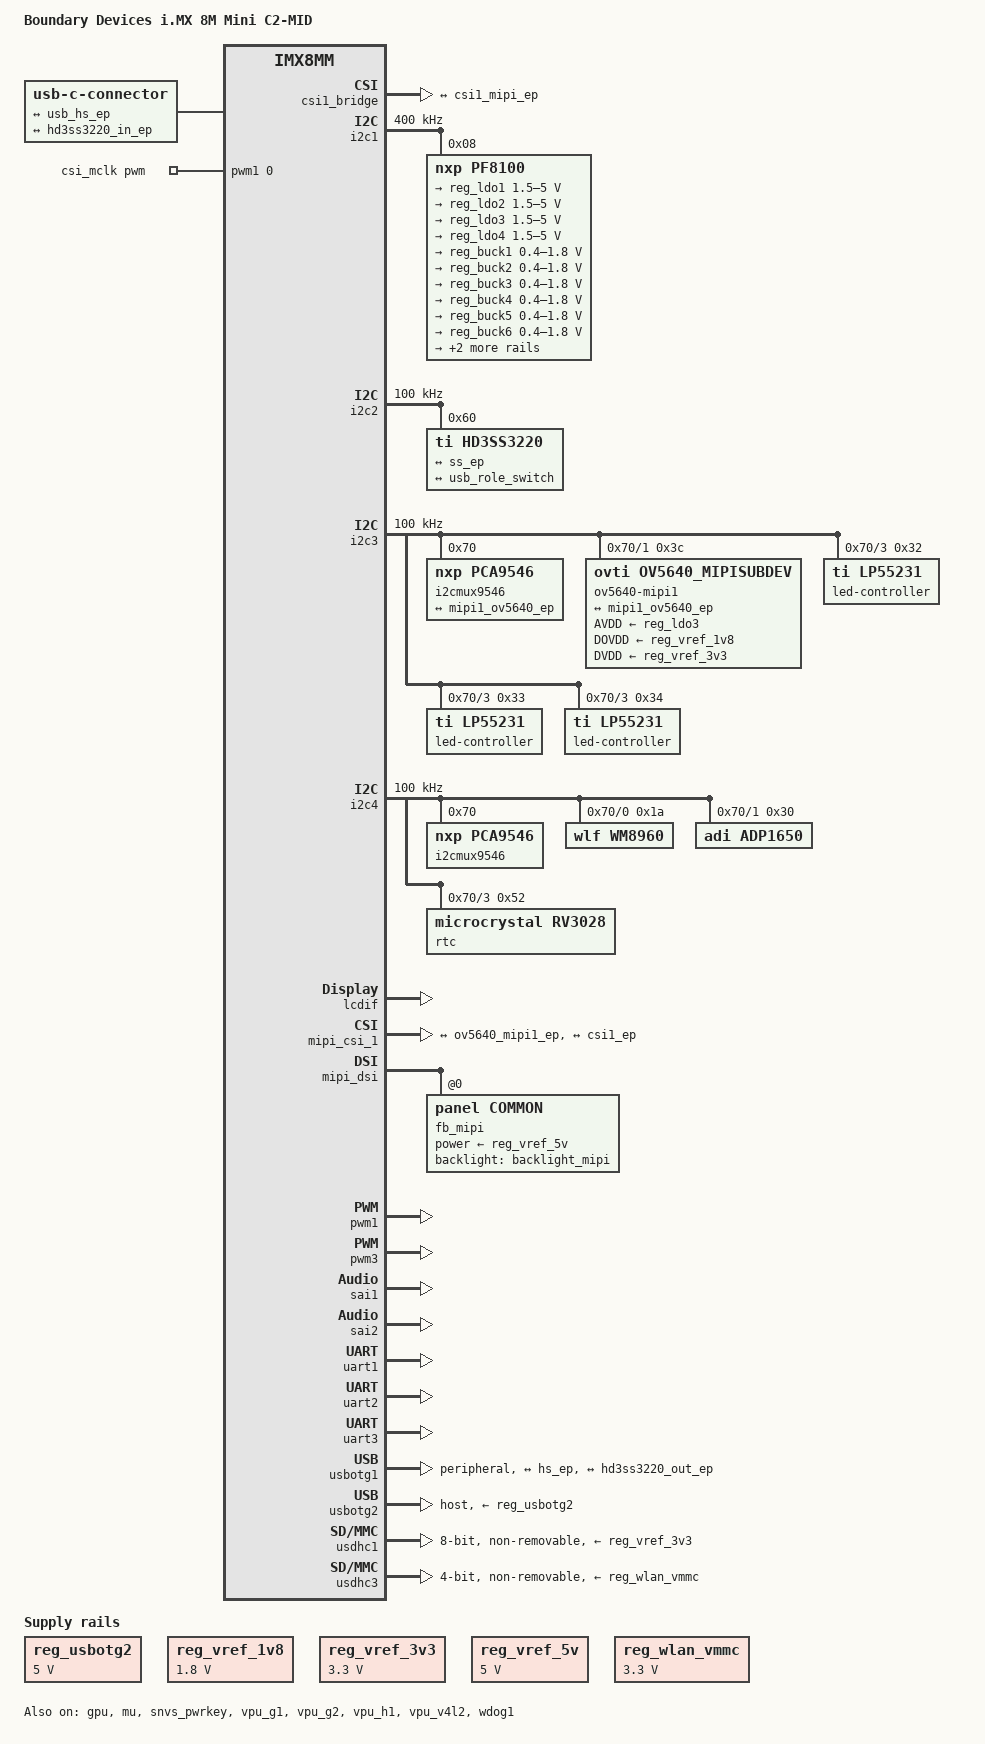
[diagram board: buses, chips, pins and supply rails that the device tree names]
// SPDX-License-Identifier: (GPL-2.0+ OR MIT)
/*
 * Copyright 2021 Boundary Devices
 */

/dts-v1/;
#include "imx8mm.dtsi"
#include "panel-ltk080a60a004t.dtsi"
#include "panel-m101nwwb.dtsi"
#define MX8MMN(a, b)	MX8MM_##a b
#define IMX8MMN(a)	IMX8MM_##a

&iomuxc {
	pinctrl-names = "default";
	pinctrl-0 = <&pinctrl_hog>;

	pinctrl_bt_rfkill: bt-rfkillgrp {
		fsl,pins = <
#define GP_BT_RFKILL_RESET	<&gpio3 14 GPIO_ACTIVE_LOW>
			MX8MMN(IOMUXC_NAND_DQS_GPIO3_IO14, 0x119)
		>;
	};

	pinctrl_hog: hoggrp {
		fsl,pins = <
			MX8MMN(IOMUXC_UART3_RXD_GPIO5_IO26, 0x140)	/* NFC_GPO */
			MX8MMN(IOMUXC_UART3_TXD_GPIO5_IO27, 0x140)	/* NFC_RESET */
			MX8MMN(IOMUXC_GPIO1_IO03_GPIO1_IO3, 0x140)	/* 2P8V_FCI_EN */
			MX8MMN(IOMUXC_GPIO1_IO05_GPIO1_IO5, 0x1c0)	/* TAMPER_FIRQ */
			MX8MMN(IOMUXC_GPIO1_IO07_GPIO1_IO7, 0x140)	/* Fasboot button */
			/* unused, but called ldo2_vsel */
			MX8MMN(IOMUXC_NAND_CE1_B_GPIO3_IO2, 0x100)
			MX8MMN(IOMUXC_GPIO1_IO12_GPIO1_IO12, 0x100)
			MX8MMN(IOMUXC_GPIO1_IO13_GPIO1_IO13, 0x140)

			MX8MMN(IOMUXC_NAND_RE_B_GPIO3_IO15, 0x140)	/* TP12 */
			MX8MMN(IOMUXC_NAND_ALE_GPIO3_IO0, 0x140)	/* TP18 */
			MX8MMN(IOMUXC_SAI3_RXC_GPIO4_IO29, 0x140)	/* TP19 */
			MX8MMN(IOMUXC_GPIO1_IO15_GPIO1_IO15, 0x140)	/* TP20 */
			MX8MMN(IOMUXC_GPIO1_IO09_GPIO1_IO9, 0x140)	/* TP21 */
			MX8MMN(IOMUXC_SAI1_RXD3_GPIO4_IO5, 0x140)	/* TP26 */
		>;
	};

	pinctrl_i2c1: i2c1grp {
		fsl,pins = <
			MX8MMN(IOMUXC_I2C1_SCL_I2C1_SCL, 0x400000c3)
			MX8MMN(IOMUXC_I2C1_SDA_I2C1_SDA, 0x400000c3)
		>;
	};

	pinctrl_i2c1_1: i2c1_1grp {
		fsl,pins = <
#define GP_I2C1_SCL	<&gpio5 14 GPIO_OPEN_DRAIN>
			MX8MMN(IOMUXC_I2C1_SCL_GPIO5_IO14, 0x400000c3)
#define GP_I2C1_SDA	<&gpio5 15 GPIO_OPEN_DRAIN>
			MX8MMN(IOMUXC_I2C1_SDA_GPIO5_IO15, 0x400000c3)
		>;
	};

	pinctrl_i2c1_pf8100: i2c1-pf8100grp {
		fsl,pins = <
#define GP_I2C1_PF8100_EWARN	<&gpio3 3 GPIO_ACTIVE_LOW>
			MX8MMN(IOMUXC_NAND_CE2_B_GPIO3_IO3, 0x149)
#define GP_I2C1_PF8100_FAULT	<&gpio3 4 GPIO_ACTIVE_LOW>
			MX8MMN(IOMUXC_NAND_CE3_B_GPIO3_IO4, 0x149)
		>;
	};

	pinctrl_i2c2: i2c2grp {
		fsl,pins = <
			MX8MMN(IOMUXC_I2C2_SCL_I2C2_SCL, 0x400000c3)
			MX8MMN(IOMUXC_I2C2_SDA_I2C2_SDA, 0x400000c3)
		>;
	};

	pinctrl_i2c2_1: i2c2_1grp {
		fsl,pins = <
#define GP_I2C2_SCL	<&gpio5 16 GPIO_OPEN_DRAIN>
			MX8MMN(IOMUXC_I2C2_SCL_GPIO5_IO16, 0x400000c3)
#define GP_I2C2_SDA	<&gpio5 17 GPIO_OPEN_DRAIN>
			MX8MMN(IOMUXC_I2C2_SDA_GPIO5_IO17, 0x400000c3)
		>;
	};

	pinctrl_i2c2_hd3ss3220: i2c2-hd3ss3220grp {
		fsl,pins = <
#define GPIRQ_HD3SS3220	<&gpio3 25 IRQ_TYPE_LEVEL_LOW>
			MX8MMN(IOMUXC_SAI5_MCLK_GPIO3_IO25, 0x149)
			MX8MMN(IOMUXC_SAI5_RXFS_GPIO3_IO19, 0x109)
		>;
	};

	pinctrl_i2c3: i2c3grp {
		fsl,pins = <
			MX8MMN(IOMUXC_I2C3_SCL_I2C3_SCL, 0x400000c3)
			MX8MMN(IOMUXC_I2C3_SDA_I2C3_SDA, 0x400000c3)
		>;
	};

	pinctrl_i2c3_1: i2c3_1grp {
		fsl,pins = <
#define GP_I2C3_SCL	<&gpio5 18 GPIO_OPEN_DRAIN>
			MX8MMN(IOMUXC_I2C3_SCL_GPIO5_IO18, 0x400000c3)
#define GP_I2C3_SDA	<&gpio5 19 GPIO_OPEN_DRAIN>
			MX8MMN(IOMUXC_I2C3_SDA_GPIO5_IO19, 0x400000c3)
		>;
	};

	pinctrl_i2c3_pca9546: i2c3-pca9546grp {
		fsl,pins = <
#define GP_I2C3_PCA9546_RESET	<&gpio4 4 GPIO_ACTIVE_LOW>
			MX8MMN(IOMUXC_SAI1_RXD2_GPIO4_IO4, 0x100)
		>;
	};

	pinctrl_i2c3b_ov5640_mipi: i2c3b-ov5640-mipigrp {
		fsl,pins = <
#define GP_OV5640_MIPI_POWER_DOWN	<&gpio1 11 GPIO_ACTIVE_HIGH>
			MX8MMN(IOMUXC_GPIO1_IO11_GPIO1_IO11, 0x141)
#define GP_OV5640_MIPI_RESET		<&gpio1 10 GPIO_ACTIVE_LOW>
			MX8MMN(IOMUXC_GPIO1_IO10_GPIO1_IO10, 0x101)
			MX8MMN(IOMUXC_SAI2_MCLK_GPIO4_IO27, 0x1c0)	/* xclk */
		>;
	};

	/* i2c3c */
	pinctrl_sn65dsi83: sn65dsi83grp {
		fsl,pins = <
#define GPIRQ_SN65DSI83	<&gpio3 20 IRQ_TYPE_LEVEL_HIGH>
			MX8MMN(IOMUXC_SAI5_RXC_GPIO3_IO20, 0x04)	/* J8, pin8, J8_GPIO1 */
#define GP_SN65DSI83_EN	<&gpio5 28 GPIO_ACTIVE_HIGH>
			MX8MMN(IOMUXC_UART4_RXD_GPIO5_IO28, 0x100)	/* J8, pin 11, J8_GPIO2 */
		>;
	};

	/* i2c3c */
	pinctrl_ts_gt911: ts-gt911grp {
		fsl,pins = <
#define GPIRQ_GT911 		<&gpio4 1 IRQ_TYPE_LEVEL_HIGH>
#define GP_GT911_IRQ 		<&gpio4 1 GPIO_ACTIVE_HIGH>
			MX8MMN(IOMUXC_SAI1_RXC_GPIO4_IO1, 0x1d6)
			/* driver writes levels, instead of active/inactive */
#define GP_GT911_RESET		<&gpio4 0 GPIO_ACTIVE_HIGH>
			MX8MMN(IOMUXC_SAI1_RXFS_GPIO4_IO0, 0x149)
		>;
	};

	/* i2c3c */
	pinctrl_ts_ft5x06: ts-ft5x06grp {
		fsl,pins = <
#define GPIRQ_TS_FT5X06	<&gpio4 1 IRQ_TYPE_EDGE_FALLING>
#define GP_TS_FT5X06_WAKE	<&gpio4 1 GPIO_ACTIVE_LOW>
			MX8MMN(IOMUXC_SAI1_RXC_GPIO4_IO1, 0x149)
#define GP_TS_FT5X06_RESET	<&gpio4 0 GPIO_ACTIVE_LOW>
			MX8MMN(IOMUXC_SAI1_RXFS_GPIO4_IO0, 0x109)
		>;
	};

	pinctrl_i2c3d_lp55231a: i2c3d-lp55231agrp {
		fsl,pins = <
#define GP_LED1_EN	<&gpio5 2 GPIO_ACTIVE_HIGH>
			MX8MMN(IOMUXC_SAI3_MCLK_GPIO5_IO2, 0x140)
#define GPIRQ_LED1	<&gpio4 31 IRQ_TYPE_LEVEL_LOW>
			MX8MMN(IOMUXC_SAI3_TXFS_GPIO4_IO31, 0x140)
		>;
	};

	pinctrl_i2c3d_lp55231b: i2c3d-lp55231bgrp {
		fsl,pins = <
#define GP_LED2_EN	<&gpio3 22 GPIO_ACTIVE_HIGH>
			MX8MMN(IOMUXC_SAI5_RXD1_GPIO3_IO22, 0x140)
#define GPIRQ_LED2	<&gpio3 21 IRQ_TYPE_LEVEL_LOW>
			MX8MMN(IOMUXC_SAI5_RXD0_GPIO3_IO21, 0x140)
		>;
	};

	pinctrl_i2c3d_lp55231c: i2c3d-lp55231cgrp {
		fsl,pins = <
#define GP_LED3_EN	<&gpio5 0 GPIO_ACTIVE_HIGH>
			MX8MMN(IOMUXC_SAI3_TXC_GPIO5_IO0, 0x140)
#define GPIRQ_LED3	<&gpio5 1 IRQ_TYPE_LEVEL_LOW>
			MX8MMN(IOMUXC_SAI3_TXD_GPIO5_IO1, 0x140)
		>;
	};

	pinctrl_i2c4: i2c4grp {
		fsl,pins = <
			MX8MMN(IOMUXC_I2C4_SCL_I2C4_SCL, 0x400000c3)
			MX8MMN(IOMUXC_I2C4_SDA_I2C4_SDA, 0x400000c3)
		>;
	};

	pinctrl_i2c4_1: i2c4_1grp {
		fsl,pins = <
#define GP_I2C4_SCL	<&gpio5 20 GPIO_OPEN_DRAIN>
			MX8MMN(IOMUXC_I2C4_SCL_GPIO5_IO20, 0x400000c3)
#define GP_I2C4_SDA	<&gpio5 21 GPIO_OPEN_DRAIN>
			MX8MMN(IOMUXC_I2C4_SDA_GPIO5_IO21, 0x400000c3)
		>;
	};

	pinctrl_i2c4_pca9546: i2c4-pca9546grp {
		fsl,pins = <
#define GP_I2C4_PCA9546_RESET	<&gpio4 7 GPIO_ACTIVE_LOW>
			MX8MMN(IOMUXC_SAI1_RXD5_GPIO4_IO7, 0x100)
		>;
	};

	pinctrl_i2c4b_adp1650: i2c4b-adp1650grp {
		fsl,pins = <
#define GP_FLASH_EN		<&gpio4 13 GPIO_ACTIVE_HIGH>
			MX8MMN(IOMUXC_SAI1_TXD1_GPIO4_IO13, 0x109)	/* FLASH_ENABLE */
#define GP_FLASH_STROBE		<&gpio4 3 GPIO_ACTIVE_HIGH>
			MX8MMN(IOMUXC_SAI1_RXD1_GPIO4_IO3, 0x109)	/* FLASH_STROBE */
#define GP_TORCH_EN		<&gpio4 14 GPIO_ACTIVE_HIGH>
			MX8MMN(IOMUXC_SAI1_TXD2_GPIO4_IO14, 0x109)	/* FLASH_TORCH_MODE */
		>;
	};

	pinctrl_i2c4d_rv3028: i2c4d-rv3028grp {
		fsl,pins = <
#define GPIRQ_RV3028		<&gpio4 6 IRQ_TYPE_LEVEL_LOW>
			MX8MMN(IOMUXC_SAI1_RXD4_GPIO4_IO6, 0x1c0)
		>;
	};

	pinctrl_mipi_ltk0680ytmdb: mipi-ltk0680ytmdbgrp {
		fsl,pins = <
#define GP_MIPI_RESET	<&gpio5 28 GPIO_ACTIVE_LOW>
			MX8MMN(IOMUXC_UART4_RXD_GPIO5_IO28, 0x100)	/* J8, pin 11, J8_GPIO2 */
		>;
	};

	pinctrl_mipi_ltk080a60a004t: mipi-ltk080a60a004tgrp {
		fsl,pins = <
#define GP_LTK08_MIPI_EN	<&gpio3 20 GPIO_ACTIVE_HIGH>
			MX8MMN(IOMUXC_SAI5_RXC_GPIO3_IO20, 0x100)	/* J8, pin8, J8_GPIO1 */
		>;
	};

	pinctrl_pwm1: pwm1grp {
		fsl,pins = <
			MX8MMN(IOMUXC_SPDIF_EXT_CLK_PWM1_OUT, 0x16)
		>;
	};

	pinctrl_pwm3: pwm3grp {
		fsl,pins = <
			MX8MMN(IOMUXC_SPDIF_TX_PWM3_OUT, 0x16)
		>;
	};

	pinctrl_reg_usbotg2: reg-usbotg2grp {
		fsl,pins = <
#define GP_USBOTG2_EN	<&gpio3 24 GPIO_ACTIVE_HIGH>
			MX8MMN(IOMUXC_SAI5_RXD3_GPIO3_IO24, 0x140)	/* FP_SCANNER_EN */
		>;
	};

	pinctrl_reg_wlan_vmmc: reg-wlan-vmmcgrp {
		fsl,pins = <
#define GP_REG_WLAN_VMMC	<&gpio4 22 GPIO_ACTIVE_HIGH>
			MX8MMN(IOMUXC_SAI2_RXC_GPIO4_IO22, 0x16)
		>;
	};

	pinctrl_sai1: sai1grp {
		fsl,pins = <
			/* wm8960 */
			MX8MMN(IOMUXC_SAI1_MCLK_SAI1_MCLK, 0xd6)
			MX8MMN(IOMUXC_SAI1_TXFS_SAI1_TX_SYNC, 0xd6)
			MX8MMN(IOMUXC_SAI1_TXC_SAI1_TX_BCLK, 0xd6)
			MX8MMN(IOMUXC_SAI1_TXD0_SAI1_TX_DATA0, 0xd6)
			MX8MMN(IOMUXC_SAI1_RXD0_SAI1_RX_DATA0, 0xd6)
		>;
	};

	pinctrl_sai2: sai2grp {
		fsl,pins = <
			/* Bluetooth PCM */
			MX8MMN(IOMUXC_SAI2_TXFS_SAI2_TX_SYNC, 0xd6)
			MX8MMN(IOMUXC_SAI2_TXC_SAI2_TX_BCLK, 0xd6)
			MX8MMN(IOMUXC_SAI2_TXD0_SAI2_TX_DATA0, 0xd6)
			MX8MMN(IOMUXC_SAI2_RXD0_SAI2_RX_DATA0, 0xd6)
		>;
	};

	pinctrl_uart1: uart1grp {
		fsl,pins = <
			MX8MM_IOMUXC_UART1_RXD_UART1_DCE_RX		0x140
			MX8MM_IOMUXC_UART1_TXD_UART1_DCE_TX		0x140
		>;
	};

	pinctrl_uart2: uart2grp {
		fsl,pins = <
			MX8MMN(IOMUXC_UART2_RXD_UART2_DCE_RX, 0x140)
			MX8MMN(IOMUXC_UART2_TXD_UART2_DCE_TX, 0x140)
		>;
	};

	pinctrl_uart3: uart3grp {
		fsl,pins = <
			MX8MMN(IOMUXC_ECSPI1_SCLK_UART3_DCE_RX, 0x140)
			MX8MMN(IOMUXC_ECSPI1_MOSI_UART3_DCE_TX, 0x140)
			MX8MMN(IOMUXC_ECSPI1_SS0_UART3_DCE_RTS_B, 0x140)
			MX8MMN(IOMUXC_ECSPI1_MISO_UART3_DCE_CTS_B, 0x140)
		>;
	};

	pinctrl_usdhc1: usdhc1grp {
		fsl,pins = <
			MX8MMN(IOMUXC_SD1_CLK_USDHC1_CLK, 0x190)
			MX8MMN(IOMUXC_SD1_CMD_USDHC1_CMD, 0x1d0)
			MX8MMN(IOMUXC_SD1_DATA0_USDHC1_DATA0, 0x1d0)
			MX8MMN(IOMUXC_SD1_DATA1_USDHC1_DATA1, 0x1d0)
			MX8MMN(IOMUXC_SD1_DATA2_USDHC1_DATA2, 0x1d0)
			MX8MMN(IOMUXC_SD1_DATA3_USDHC1_DATA3, 0x1d0)
			MX8MMN(IOMUXC_SD1_DATA4_USDHC1_DATA4, 0x1d0)
			MX8MMN(IOMUXC_SD1_DATA5_USDHC1_DATA5, 0x1d0)
			MX8MMN(IOMUXC_SD1_DATA6_USDHC1_DATA6, 0x1d0)
			MX8MMN(IOMUXC_SD1_DATA7_USDHC1_DATA7, 0x1d0)
#define GP_EMMC_RESET		<&gpio2 10 GPIO_ACTIVE_LOW>
			MX8MMN(IOMUXC_SD1_RESET_B_GPIO2_IO10, 0x141)
		>;
	};

	pinctrl_usdhc1_100mhz: usdhc1grp100mhz {
		fsl,pins = <
			MX8MMN(IOMUXC_SD1_CLK_USDHC1_CLK, 0x194)
			MX8MMN(IOMUXC_SD1_CMD_USDHC1_CMD, 0x1d4)
			MX8MMN(IOMUXC_SD1_DATA0_USDHC1_DATA0, 0x1d4)
			MX8MMN(IOMUXC_SD1_DATA1_USDHC1_DATA1, 0x1d4)
			MX8MMN(IOMUXC_SD1_DATA2_USDHC1_DATA2, 0x1d4)
			MX8MMN(IOMUXC_SD1_DATA3_USDHC1_DATA3, 0x1d4)
			MX8MMN(IOMUXC_SD1_DATA4_USDHC1_DATA4, 0x1d4)
			MX8MMN(IOMUXC_SD1_DATA5_USDHC1_DATA5, 0x1d4)
			MX8MMN(IOMUXC_SD1_DATA6_USDHC1_DATA6, 0x1d4)
			MX8MMN(IOMUXC_SD1_DATA7_USDHC1_DATA7, 0x1d4)
		>;
	};

	pinctrl_usdhc1_200mhz: usdhc1grp200mhz {
		fsl,pins = <
			MX8MMN(IOMUXC_SD1_CLK_USDHC1_CLK, 0x196)
			MX8MMN(IOMUXC_SD1_CMD_USDHC1_CMD, 0x1d6)
			MX8MMN(IOMUXC_SD1_DATA0_USDHC1_DATA0, 0x1d6)
			MX8MMN(IOMUXC_SD1_DATA1_USDHC1_DATA1, 0x1d6)
			MX8MMN(IOMUXC_SD1_DATA2_USDHC1_DATA2, 0x1d6)
			MX8MMN(IOMUXC_SD1_DATA3_USDHC1_DATA3, 0x1d6)
			MX8MMN(IOMUXC_SD1_DATA4_USDHC1_DATA4, 0x1d6)
			MX8MMN(IOMUXC_SD1_DATA5_USDHC1_DATA5, 0x1d6)
			MX8MMN(IOMUXC_SD1_DATA6_USDHC1_DATA6, 0x1d6)
			MX8MMN(IOMUXC_SD1_DATA7_USDHC1_DATA7, 0x1d6)
		>;
	};

	pinctrl_usdhc3: usdhc3grp {
		fsl,pins = <
			MX8MMN(IOMUXC_NAND_WE_B_USDHC3_CLK, 0x190)
			MX8MMN(IOMUXC_NAND_WP_B_USDHC3_CMD, 0x1d0)
			MX8MMN(IOMUXC_NAND_DATA04_USDHC3_DATA0, 0x1d0)
			MX8MMN(IOMUXC_NAND_DATA05_USDHC3_DATA1, 0x1d0)
			MX8MMN(IOMUXC_NAND_DATA06_USDHC3_DATA2, 0x1d0)
			MX8MMN(IOMUXC_NAND_DATA07_USDHC3_DATA3, 0x1d0)
			/* Bluetooth slow clock */
			MX8MMN(IOMUXC_GPIO1_IO00_ANAMIX_REF_CLK_32K, 0x03)
			MX8MMN(IOMUXC_SAI2_RXFS_GPIO4_IO21, 0x1c0)	/* wake host */
			MX8MMN(IOMUXC_GPIO1_IO04_GPIO1_IO4, 0x1c0)	/* bt wake */
		>;
	};

	pinctrl_usdhc3_100mhz: usdhc3grp100mhz {
		fsl,pins = <
			MX8MMN(IOMUXC_NAND_WE_B_USDHC3_CLK, 0x194)
			MX8MMN(IOMUXC_NAND_WP_B_USDHC3_CMD, 0x1d4)
			MX8MMN(IOMUXC_NAND_DATA04_USDHC3_DATA0, 0x1d4)
			MX8MMN(IOMUXC_NAND_DATA05_USDHC3_DATA1, 0x1d4)
			MX8MMN(IOMUXC_NAND_DATA06_USDHC3_DATA2, 0x1d4)
			MX8MMN(IOMUXC_NAND_DATA07_USDHC3_DATA3, 0x1d4)
		>;
	};

	pinctrl_usdhc3_200mhz: usdhc3grp200mhz {
		fsl,pins = <
			MX8MMN(IOMUXC_NAND_WE_B_USDHC3_CLK, 0x196)
			MX8MMN(IOMUXC_NAND_WP_B_USDHC3_CMD, 0x1d6)
			MX8MMN(IOMUXC_NAND_DATA04_USDHC3_DATA0, 0x1d6)
			MX8MMN(IOMUXC_NAND_DATA05_USDHC3_DATA1, 0x1d6)
			MX8MMN(IOMUXC_NAND_DATA06_USDHC3_DATA2, 0x1d6)
			MX8MMN(IOMUXC_NAND_DATA07_USDHC3_DATA3, 0x1d6)
		>;
	};

	pinctrl_wdog: wdoggrp {
		fsl,pins = <
			MX8MMN(IOMUXC_GPIO1_IO02_WDOG1_WDOG_B, 0x140)
		>;
	};
};

/ {
	model = "Boundary Devices i.MX 8M Mini C2-MID";
	compatible = "boundary,imx8mm-c2-mid", "fsl,imx8mm";

	aliases {
		backlight_mipi = &backlight_mipi;
		fb_mipi = &fb_mipi;
		lcdif = &lcdif;
		mipi = &fb_mipi;
		mipi_dsi = &mipi_dsi;
		mipi_to_lvds = &mipi_to_lvds;
		pwm_mipi = &pwm3;
		t_mipi = &t_mipi;
		ts_ft5x06 = &ts_ft5x06;
		ts_goodix = &ts_goodix;
	};

	backlight_mipi: backlight-mipi {
		alias = <&backlight_mipi>;
		brightness-levels = <0 1 2 3 4 5 6 7 8 9 10>;
		compatible = "pwm-backlight";
		default-brightness-level = <8>;
		display = <&display_subsystem>;
		pwms = <&pwm3 0 30000>;		/* 33.3 Khz */
		status = "disabled";
	};

	bt-rfkill {
		compatible = "net,rfkill-gpio";
		pinctrl-names = "default";
		pinctrl-0 = <&pinctrl_bt_rfkill>;
		name = "bt-rfkill";
		type = <2>; /* Bluetooth */
		reset-gpios = GP_BT_RFKILL_RESET;
		status = "okay";
	};

	connector {
		compatible = "usb-c-connector";
		label = "USB-C";
		data-role = "dual";

		ports {
			#address-cells = <1>;
			#size-cells = <0>;

			port@0 {
				reg = <0>;
				hs_ep: endpoint {
					remote-endpoint = <&usb_hs_ep>;
				};
			};

			port@1 {
				reg = <1>;
				ss_ep: endpoint {
					remote-endpoint = <&hd3ss3220_in_ep>;
				};
			};
		};
	};

	csi_mclk: csi-mclk {
		compatible = "pwm-clock";
		#clock-cells = <0>;
		clock-frequency = <20000000>;
		clock-output-names = "csi_mclk";
		pwms = <&pwm1 0 50>; /* 1 / 50 ns = 20 MHz */
	};

	reg_usbotg2: regulator-usbotg2 {
		compatible = "regulator-fixed";
		enable-active-high;
		gpio = GP_USBOTG2_EN;
		pinctrl-names = "default";
		pinctrl-0 = <&pinctrl_reg_usbotg2>;
		regulator-name = "usbotg2";
		regulator-min-microvolt = <5000000>;
		regulator-max-microvolt = <5000000>;
	};

	reg_vref_1v8: regulator-vref-1v8 {
		compatible = "regulator-fixed";
		regulator-name = "vref-1v8";
		regulator-min-microvolt = <1800000>;
		regulator-max-microvolt = <1800000>;
	};

	reg_vref_3v3: regulator-vref-3v3 {
		compatible = "regulator-fixed";
		regulator-name = "vref-3v3";
		regulator-min-microvolt = <3300000>;
		regulator-max-microvolt = <3300000>;
	};

	reg_vref_5v: regulator-vref-5v {
		compatible = "regulator-fixed";
		regulator-name = "vref-5v";
		regulator-min-microvolt = <5000000>;
		regulator-max-microvolt = <5000000>;
	};

	reg_wlan_vmmc: regulator-wlan-vmmc {
		compatible = "regulator-fixed";
		pinctrl-names = "default";
		pinctrl-0 = <&pinctrl_reg_wlan_vmmc>;
		regulator-name = "reg_wlan_vmmc";
		regulator-min-microvolt = <3300000>;
		regulator-max-microvolt = <3300000>;
		gpio = GP_REG_WLAN_VMMC;
		startup-delay-us = <70000>;
		enable-active-high;
	};

	sound-wm8960 {
		audio-codec = <&wm8960>;
		audio-cpu = <&sai1>;
		audio-routing =
			"Ext Spk", "SPK_LP",
			"Ext Spk", "SPK_LN",
			"Ext Spk", "SPK_RP",
			"Ext Spk", "SPK_RN";
		codec-master;
		compatible = "fsl,imx-audio-wm8960";
		model = "wm8960-audio";
	};
};

&A53_0 {
	cpu-supply = <&reg_buck3>;
};

&csi1_bridge {
	fsl,mipi-mode;
	status = "okay";

	port {
		csi1_ep: endpoint {
			remote-endpoint = <&csi1_mipi_ep>;
		};
	};
};

&gpu {
	status = "okay";
};

&i2c1 {
	clock-frequency = <400000>;
	pinctrl-names = "default", "gpio";
	pinctrl-0 = <&pinctrl_i2c1>;
	pinctrl-1 = <&pinctrl_i2c1_1>;
	scl-gpios = GP_I2C1_SCL;
	sda-gpios = GP_I2C1_SDA;
	status = "okay";

	pf8100@8 {
		compatible = "nxp,pf8100";
		pinctrl-names = "default";
		pinctrl-0 = <&pinctrl_i2c1_pf8100>;
		reg = <0x08>;

		regulators {
			reg_ldo1: ldo1 {
				regulator-always-on;
				regulator-boot-on;
				regulator-max-microvolt = <5000000>;
				regulator-min-microvolt = <1500000>;
			};

			reg_ldo2: ldo2 {
				regulator-always-on;
				regulator-boot-on;
				regulator-max-microvolt = <5000000>;
				regulator-min-microvolt = <1500000>;
#if 0
				/* vselect low is 3.3V, high is 1.8V */
				vselect-en;
#endif
			};

			reg_ldo3: ldo3 {
				regulator-always-on;
				regulator-boot-on;
				regulator-max-microvolt = <5000000>;
				regulator-min-microvolt = <1500000>;
			};

			reg_ldo4: ldo4 {
				regulator-always-on;
				regulator-boot-on;
				regulator-max-microvolt = <5000000>;
				regulator-min-microvolt = <1500000>;
			};

			reg_buck1: buck1 {
				nxp,phase-shift = <0>;
				regulator-max-microamp = <4500000>;
				regulator-always-on;
				regulator-boot-on;
				regulator-max-microvolt = <1800000>;
				regulator-min-microvolt =  <400000>;
			};

			reg_buck2: buck2 {
				regulator-always-on;
				regulator-boot-on;
				regulator-max-microvolt = <1800000>;
				regulator-min-microvolt =  <400000>;
			};

			reg_buck3: buck3 {
				regulator-always-on;
				regulator-boot-on;
				regulator-max-microvolt = <1800000>;
				regulator-min-microvolt =  <400000>;
				fast-slew = <1>;
			};

			reg_buck4: buck4 {
				regulator-always-on;
				regulator-boot-on;
				regulator-max-microvolt = <1800000>;
				regulator-min-microvolt =  <400000>;
				fast-slew = <1>;
			};

			reg_buck5: buck5 {
				regulator-always-on;
				regulator-boot-on;
				regulator-max-microvolt = <1800000>;
				regulator-min-microvolt =  <400000>;
			};

			reg_buck6: buck6 {
				regulator-always-on;
				regulator-boot-on;
				regulator-max-microvolt = <1800000>;
				regulator-min-microvolt =  <400000>;
			};

			reg_buck7: buck7 {
				regulator-always-on;
				regulator-boot-on;
				regulator-max-microvolt = <4100000>;
				regulator-min-microvolt = <1000000>;
			};

			reg_vsnvs: vsnvs {
				regulator-always-on;
				regulator-boot-on;
				regulator-max-microvolt = <3300000>;
				regulator-min-microvolt = <1800000>;
			};
		};
	};
};

&i2c2 {
	clock-frequency = <100000>;
	pinctrl-names = "default", "gpio";
	pinctrl-0 = <&pinctrl_i2c2>;
	pinctrl-1 = <&pinctrl_i2c2_1>;
	scl-gpios = GP_I2C2_SCL;
	sda-gpios = GP_I2C2_SDA;
	status = "okay";

	hd3ss3220@60 {
		compatible = "ti,hd3ss3220";
		interrupts-extended = GPIRQ_HD3SS3220;
		pinctrl-names = "default";
		pinctrl-0 = <&pinctrl_i2c2_hd3ss3220>;
		reg = <0x60>;

		ports {
			#address-cells = <1>;
			#size-cells = <0>;

			port@0 {
				reg = <0>;
				hd3ss3220_in_ep: endpoint {
					remote-endpoint = <&ss_ep>;
				};
			};

			port@1 {
				reg = <1>;
				hd3ss3220_out_ep: endpoint {
					remote-endpoint = <&usb_role_switch>;
				};
			};
		};
	};
};

&i2c3 {
	clock-frequency = <100000>;
	pinctrl-names = "default", "gpio";
	pinctrl-0 = <&pinctrl_i2c3>;
	pinctrl-1 = <&pinctrl_i2c3_1>;
	scl-gpios = GP_I2C3_SCL;
	sda-gpios = GP_I2C3_SDA;
	status = "okay";

	i2cmux9546@70 {
		pinctrl-names = "default";
		pinctrl-0 = <&pinctrl_i2c3_pca9546>;
		compatible = "nxp,pca9546";
		reg = <0x70>;
		reset-gpios = GP_I2C3_PCA9546_RESET;
		#address-cells = <1>;
		#size-cells = <0>;

		i2c3a: i2c3@0 {
			clock-frequency = <100000>;
			reg = <0>;
			#address-cells = <1>;
			#size-cells = <0>;
		};

		i2c3b: i2c3@1 {
			clock-frequency = <100000>;
			reg = <1>;
			#address-cells = <1>;
			#size-cells = <0>;
		};

		i2c3c: i2c3@2 {
			clock-frequency = <100000>;
			reg = <2>;
			#address-cells = <1>;
			#size-cells = <0>;
		};

		i2c3d: i2c3@3 {
			clock-frequency = <100000>;
			reg = <3>;
			#address-cells = <1>;
			#size-cells = <0>;
		};
	};
};

&i2c3a {
	/* NFC */
};

&i2c3b {
	ov5640-mipi1@3c {
		AVDD-supply = <&reg_ldo3>;
		DOVDD-supply = <&reg_vref_1v8>;
		DVDD-supply = <&reg_vref_3v3>;
		clocks = <&csi_mclk>;
		clock-names = "xclk";
		compatible = "ovti,ov5640_mipisubdev";
		csi_id = <0>;
		mclk = <20000000>;
		mipi_csi;
		pinctrl-names = "default";
		pinctrl-0 = <&pinctrl_i2c3b_ov5640_mipi>;
		powerdown-gpios = GP_OV5640_MIPI_POWER_DOWN;
		reg = <0x3c>;
		reset-gpios = GP_OV5640_MIPI_RESET;
		status = "okay";

		port {
			ov5640_mipi1_ep: endpoint {
				remote-endpoint = <&mipi1_ov5640_ep>;
			};
		};
	};
};

&i2c3c {
	/* Touch */
	ts_ft5x06: touchscreen@38 {
		compatible = "edt,ft5x06-ts";
		interrupts-extended = GPIRQ_TS_FT5X06;
		pinctrl-names = "default";
		pinctrl-0 = <&pinctrl_ts_ft5x06>;
		reg = <0x38>;
		reset-gpios = GP_TS_FT5X06_RESET;
		status = "disabled";
		wakeup-gpios = GP_TS_FT5X06_WAKE;
	};

	ts_goodix: touchscreen@5d {
		compatible = "goodix,gt9271";
		display = <&display_subsystem>;
		esd-recovery-timeout-ms = <2000>;
		interrupts-extended = GPIRQ_GT911;
		irq-gpios = GP_GT911_IRQ;
		pinctrl-names = "default";
		pinctrl-0 = <&pinctrl_ts_gt911>;
		reg = <0x5d>;
		reset-gpios = GP_GT911_RESET;
		status = "disabled";
	};
};

&i2c3d {
	led-controller@32 {
		clock-mode = /bits/ 8 <1>;
		compatible = "ti,lp55231";
		enable-gpios = GP_LED1_EN;
		interrupts-extended = GPIRQ_LED1;
		pinctrl-names = "default";
		pinctrl-0 = <&pinctrl_i2c3d_lp55231a>;
		reg = <0x32>;
		#address-cells = <1>;
		#size-cells = <0>;

		led@0 {
			chan-name = "d1";
			led-cur = /bits/ 8 <0x2f>;
			max-cur = /bits/ 8 <0xff>;
			reg = <0x0>;
		};

		led@1 {
			chan-name = "d2";
			led-cur = /bits/ 8 <0x2f>;
			max-cur = /bits/ 8 <0xff>;
			reg = <0x1>;
		};

		led@2 {
			chan-name = "d3";
			led-cur = /bits/ 8 <0x2f>;
			max-cur = /bits/ 8 <0xff>;
			reg = <0x2>;
		};

		led@3 {
			chan-name = "d4";
			led-cur = /bits/ 8 <0x2f>;
			max-cur = /bits/ 8 <0xff>;
			reg = <0x3>;
		};

		led@4 {
			chan-name = "d5";
			led-cur = /bits/ 8 <0x2f>;
			max-cur = /bits/ 8 <0xff>;
			reg = <0x4>;
		};

		led@5 {
			chan-name = "d6";
			led-cur = /bits/ 8 <0x2f>;
			max-cur = /bits/ 8 <0xff>;
			reg = <0x5>;
		};

		led@6 {
			chan-name = "d7";
			led-cur = /bits/ 8 <0x2f>;
			max-cur = /bits/ 8 <0xff>;
			reg = <0x6>;
		};

		led@7 {
			chan-name = "d8";
			led-cur = /bits/ 8 <0x2f>;
			max-cur = /bits/ 8 <0xff>;
			reg = <0x7>;
		};

		led@8 {
			chan-name = "d9";
			led-cur = /bits/ 8 <0x2f>;
			max-cur = /bits/ 8 <0xff>;
			reg = <0x8>;
		};
	};

	led-controller@33 {
		clock-mode = /bits/ 8 <1>;
		compatible = "ti,lp55231";
		enable-gpios = GP_LED2_EN;
		interrupts-extended = GPIRQ_LED2;
		pinctrl-names = "default";
		pinctrl-0 = <&pinctrl_i2c3d_lp55231b>;
		reg = <0x33>;
		#address-cells = <1>;
		#size-cells = <0>;

		led@0 {
			chan-name = "d1";
			led-cur = /bits/ 8 <0x2f>;
			max-cur = /bits/ 8 <0xff>;
			reg = <0x0>;
		};

		led@1 {
			chan-name = "d2";
			led-cur = /bits/ 8 <0x2f>;
			max-cur = /bits/ 8 <0xff>;
			reg = <0x1>;
		};

		led@2 {
			chan-name = "d3";
			led-cur = /bits/ 8 <0x2f>;
			max-cur = /bits/ 8 <0xff>;
			reg = <0x2>;
		};

		led@3 {
			chan-name = "d4";
			led-cur = /bits/ 8 <0x2f>;
			max-cur = /bits/ 8 <0xff>;
			reg = <0x3>;
		};

		led@4 {
			chan-name = "d5";
			led-cur = /bits/ 8 <0x2f>;
			max-cur = /bits/ 8 <0xff>;
			reg = <0x4>;
		};

		led@5 {
			chan-name = "d6";
			led-cur = /bits/ 8 <0x2f>;
			max-cur = /bits/ 8 <0xff>;
			reg = <0x5>;
		};

		led@6 {
			chan-name = "d7";
			led-cur = /bits/ 8 <0x2f>;
			max-cur = /bits/ 8 <0xff>;
			reg = <0x6>;
		};

		led@7 {
			chan-name = "d8";
			led-cur = /bits/ 8 <0x2f>;
			max-cur = /bits/ 8 <0xff>;
			reg = <0x7>;
		};

		led@8 {
			chan-name = "d9";
			led-cur = /bits/ 8 <0x2f>;
			max-cur = /bits/ 8 <0xff>;
			reg = <0x8>;
		};
	};

	led-controller@34 {
		clock-mode = /bits/ 8 <1>;
		compatible = "ti,lp55231";
		enable-gpios = GP_LED3_EN;
		interrupts-extended = GPIRQ_LED3;
		pinctrl-names = "default";
		pinctrl-0 = <&pinctrl_i2c3d_lp55231c>;
		reg = <0x34>;
		#address-cells = <1>;
		#size-cells = <0>;

		led@0 {
			chan-name = "d1";
			led-cur = /bits/ 8 <0x2f>;
			max-cur = /bits/ 8 <0xff>;
			reg = <0x0>;
		};

		led@1 {
			chan-name = "d2";
			led-cur = /bits/ 8 <0x2f>;
			max-cur = /bits/ 8 <0xff>;
			reg = <0x1>;
		};

		led@2 {
			chan-name = "d3";
			led-cur = /bits/ 8 <0x2f>;
			max-cur = /bits/ 8 <0xff>;
			reg = <0x2>;
		};

		led@3 {
			chan-name = "d4";
			led-cur = /bits/ 8 <0x2f>;
			max-cur = /bits/ 8 <0xff>;
			reg = <0x3>;
		};

		led@4 {
			chan-name = "d5";
			led-cur = /bits/ 8 <0x2f>;
			max-cur = /bits/ 8 <0xff>;
			reg = <0x4>;
		};

		led@5 {
			chan-name = "d6";
			led-cur = /bits/ 8 <0x2f>;
			max-cur = /bits/ 8 <0xff>;
			reg = <0x5>;
		};

		led@6 {
			chan-name = "d7";
			led-cur = /bits/ 8 <0x2f>;
			max-cur = /bits/ 8 <0xff>;
			reg = <0x6>;
		};

		led@7 {
			chan-name = "d8";
			led-cur = /bits/ 8 <0x2f>;
			max-cur = /bits/ 8 <0xff>;
			reg = <0x7>;
		};

		led@8 {
			chan-name = "d9";
			led-cur = /bits/ 8 <0x2f>;
			max-cur = /bits/ 8 <0xff>;
			reg = <0x8>;
		};
	};
};

&i2c4 {
	clock-frequency = <100000>;
	pinctrl-names = "default", "gpio";
	pinctrl-0 = <&pinctrl_i2c4>;
	pinctrl-1 = <&pinctrl_i2c4_1>;
	scl-gpios = GP_I2C4_SCL;
	sda-gpios = GP_I2C4_SDA;
	status = "okay";

	i2cmux9546@70 {
		pinctrl-names = "default";
		pinctrl-0 = <&pinctrl_i2c4_pca9546>;
		compatible = "nxp,pca9546";
		reg = <0x70>;
		reset-gpios = GP_I2C4_PCA9546_RESET;
		#address-cells = <1>;
		#size-cells = <0>;

		i2c4a: i2c4@0 {
			clock-frequency = <100000>;
			reg = <0>;
			#address-cells = <1>;
			#size-cells = <0>;
		};

		i2c4b: i2c4@1 {
			clock-frequency = <100000>;
			reg = <1>;
			#address-cells = <1>;
			#size-cells = <0>;
		};

		i2c4c: i2c4@2 {
			clock-frequency = <100000>;
			reg = <2>;
			#address-cells = <1>;
			#size-cells = <0>;
		};

		i2c4d: i2c4@3 {
			clock-frequency = <100000>;
			reg = <3>;
			#address-cells = <1>;
			#size-cells = <0>;
		};
	};
};

&i2c4a {
	wm8960: codec@1a {
		compatible = "wlf,wm8960";
		reg = <0x1a>;
		clocks = <&clk IMX8MMN(CLK_SAI1_ROOT)>;
		clock-names = "mclk";
		wlf,shared-lrclk;
	};
};

&i2c4b {
	adp1650@30 {
		compatible = "adi,adp1650";
		pinctrl-names = "default";
		pinctrl-0 = <&pinctrl_i2c4b_adp1650>;
		reg = <0x30>;
		enable-gpios = GP_FLASH_EN;
		strobe-gpios = GP_FLASH_STROBE;
		torch-gpios = GP_TORCH_EN;
	};
};

&i2c4d {
	rtc@52 {
		backup-switchover-dsm;
		compatible = "microcrystal,rv3028";
		pinctrl-names = "default";
		pinctrl-0 = <&pinctrl_i2c4d_rv3028>;
		reg = <0x52>;
		interrupts-extended = GPIRQ_RV3028;
		wakeup-source;
	};
};

&lcdif {
	status = "okay";
};

&mipi_csi_1 {
	#address-cells = <1>;
	#size-cells = <0>;
	status = "okay";
	port {
		mipi1_ov5640_ep: endpoint@1 {
			remote-endpoint = <&ov5640_mipi1_ep>;
			data-lanes = <2>;
			csis-hs-settle = <13>;
			csis-clk-settle = <2>;
			csis-wclk;
		};

		csi1_mipi_ep: endpoint@2 {
			remote-endpoint = <&csi1_ep>;
		};
	};
};

&mipi_dsi {
	assigned-clocks = <&clk IMX8MMN(CLK_DSI_CORE)>,
			  <&clk IMX8MMN(CLK_DSI_PHY_REF)>,
			  <&clk IMX8MMN(VIDEO_PLL1_REF_SEL)>,
			  <&clk IMX8MMN(CLK_LCDIF_PIXEL)>;
	assigned-clock-parents = <&clk IMX8MMN(SYS_PLL1_266M)>,
				 <&clk IMX8MMN(VIDEO_PLL1_OUT)>,
				 <&clk IMX8MMN(CLK_24M)>;
	assigned-clock-rates = <266000000>, <0>, <0>, <66000000>;

	clocks = <&clk IMX8MMN(CLK_DSI_CORE)>,
		 <&clk IMX8MMN(CLK_DSI_PHY_REF)>,
		 <&clk IMX8MMN(CLK_LCDIF_PIXEL)>;
	clock-names = "cfg", "pll-ref", "pixel_clock";
	status = "okay";

	fb_mipi: panel@0 {
		backlight = <&backlight_mipi>;
		bits-per-color = <8>;
		bridge-de-active = <0>;
		bus-format = "rgb888";
		clocks = <&mipi_dsi 0>,
			<&clk IMX8MMN(CLK_LCDIF_PIXEL)>;
		clock-names = "mipi_clk", "pixel_clock";
		compatible = "panel,common";
		dsi-format = "rgb888";
		dsi-lanes = <4>;
		mode-skip-eot;
		mode-video;
		mode-video-burst;
		panel-height-mm = <136>;
		panel-width-mm = <217>;
		pinctrl-names = "sn65dsi83";
		pinctrl-0 = <&pinctrl_sn65dsi83>;
		power-supply = <&reg_vref_5v>;
		reg = <0>;
		sn65dsi83 = <&mipi_to_lvds>;
		spwg;

		display-timings {
			t_mipi: t-dsi-default {
				/* m101nwwb by default */
				clock-frequency = <66000000>;
				hactive = <1280>;
				vactive = <800>;
				hback-porch = <5>;
				hfront-porch = <123>;
				vback-porch = <3>;
				vfront-porch = <24>;
				hsync-len = <1>;
				vsync-len = <1>;
				hsync-active = <0>;
				vsync-active = <0>;
				de-active = <1>;
			};
		};

		mipi_to_lvds: mipi-to-lvds {
			alias = <&mipi_to_lvds>;
			enable-gpios = GP_SN65DSI83_EN;
			i2c-address = <0x2c>;
			i2c-bus = <&i2c3c>;
			interrupts-extended = GPIRQ_SN65DSI83;
			status = "disabled";
		};
	};
};

&mu {
	status = "okay";
};

&pwm1 {
	assigned-clocks = <&clk IMX8MMN(CLK_PWM1)>;
	assigned-clock-parents = <&clk IMX8MMN(SYS_PLL1_40M)>;
	pinctrl-names = "default";
	pinctrl-0 = <&pinctrl_pwm1>;
	status = "okay";
};

&pwm3 {
	pinctrl-names = "default";
	pinctrl-0 = <&pinctrl_pwm3>;
	status = "okay";
};

&sai1 {
	assigned-clocks = <&clk IMX8MMN(AUDIO_PLL1)>, <&clk IMX8MMN(AUDIO_PLL2)>, <&clk IMX8MMN(CLK_SAI1)>;
	assigned-clock-parents = <0>, <0>, <&clk IMX8MMN(AUDIO_PLL1_OUT)>;
	assigned-clock-rates = <786432000>, <722534400>, <12288000>;
	pinctrl-names = "default";
	pinctrl-0 = <&pinctrl_sai1>;
	status = "okay";
};

&sai2 {
	pinctrl-names = "default";
	pinctrl-0 = <&pinctrl_sai2>;
	status = "okay";
};

&snvs_pwrkey {
	status = "okay";
};

&uart1 {
	pinctrl-names = "default";
	pinctrl-0 = <&pinctrl_uart1>;
	assigned-clocks = <&clk IMX8MM_CLK_UART1>;
	assigned-clock-parents = <&clk IMX8MM_SYS_PLL1_80M>;
	status = "okay";
};

&uart2 { /* console */
	pinctrl-names = "default";
	pinctrl-0 = <&pinctrl_uart2>;
	assigned-clocks = <&clk IMX8MMN(CLK_UART2)>;
	assigned-clock-parents = <&clk IMX8MMN(CLK_24M)>;
	status = "okay";
};

&uart3 { /* BT */
	pinctrl-names = "default";
	pinctrl-0 = <&pinctrl_uart3>;
	assigned-clocks = <&clk IMX8MMN(CLK_UART3)>;
	assigned-clock-parents = <&clk IMX8MMN(SYS_PLL1_80M)>;
	uart-has-rtscts;
	status = "okay";
};

&usbotg1 {
	dr_mode = "peripheral";
	over-current-active-low;
	pinctrl-names = "default";
	power-active-high;
	status = "okay";

	ports {
		#address-cells = <1>;
		#size-cells = <0>;

		port@0 {
			reg = <0>;
			usb_hs_ep: endpoint {
				remote-endpoint = <&hs_ep>;
			};
		};

		port@1 {
			reg = <1>;
			usb_role_switch: endpoint {
				remote-endpoint = <&hd3ss3220_out_ep>;
			};
		};
	};
};

&usbotg2 {
	dr_mode = "host";
	disable-over-current;
	power-active-high;
	vbus-supply = <&reg_usbotg2>;
	status = "okay";
};

&usdhc1 {
	bus-width = <8>;
	no-mmc-hs400;
	non-removable;
	pinctrl-names = "default", "state_100mhz", "state_200mhz";
	pinctrl-0 = <&pinctrl_usdhc1>;
	pinctrl-1 = <&pinctrl_usdhc1_100mhz>;
	pinctrl-2 = <&pinctrl_usdhc1_200mhz>;
	status = "okay";
	vmmc-supply = <&reg_vref_3v3>;
	vqmmc-1-8-v;
	vqmmc-supply = <&reg_vref_1v8>;
};

&usdhc3 {
	bus-width = <4>;
	fsl,sdio-async-interrupt-enabled;
	keep-power-in-suspend;
	no-sd-uhs-sdr104;
	non-removable;
	pinctrl-names = "default", "state_100mhz", "state_200mhz";
	pinctrl-0 = <&pinctrl_usdhc3>;
	pinctrl-1 = <&pinctrl_usdhc3_100mhz>;
	pinctrl-2 = <&pinctrl_usdhc3_200mhz>;
	pm-ignore-notify;
	status = "okay";
	vmmc-supply = <&reg_wlan_vmmc>;
	vqmmc-1-8-v;
	vqmmc-supply = <&reg_vref_1v8>;
};

&vpu_g1 {
	status = "okay";
};

&vpu_g2 {
	status = "okay";
};

&vpu_h1 {
	status = "okay";
};

&vpumix_pd {
	dvfs-supply = <&reg_buck5>;
	idle-microvolt = <850000 805000 900000>;
};

&vpu_v4l2 {
	status = "okay";
};

&wdog1 {
	pinctrl-names = "default";
	pinctrl-0 = <&pinctrl_wdog>;
	fsl,ext-reset-output;
	status = "okay";
};
